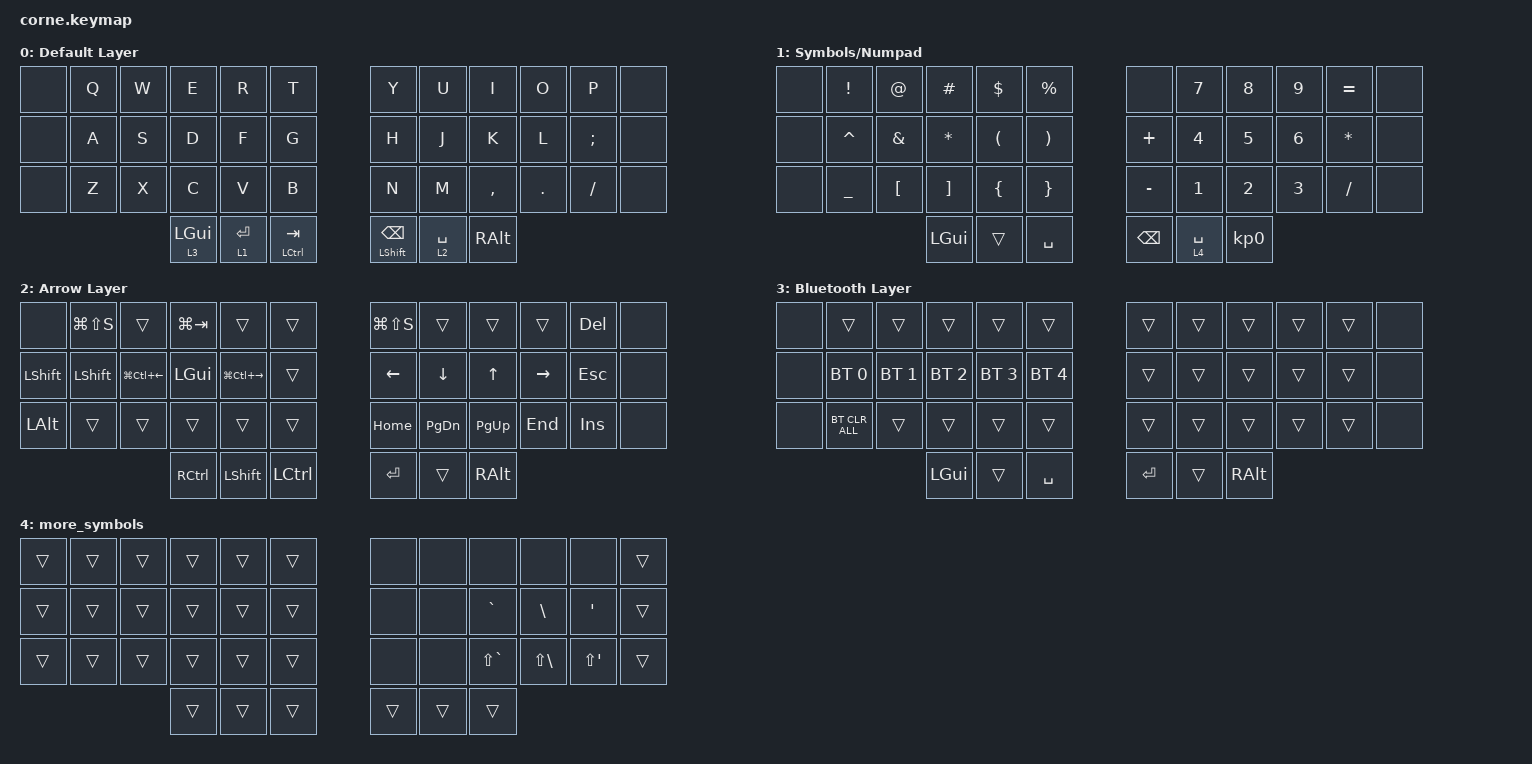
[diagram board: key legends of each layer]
/*
 * Copyright (c) 2020 The ZMK Contributors
 *
 * SPDX-License-Identifier: MIT
 */

#include <behaviors.dtsi>
#include <dt-bindings/zmk/bt.h>
#include <dt-bindings/zmk/keys.h>

/ {
    combos {
        compatible = "zmk,combos";

        combo_bluetooth_layer {
            timeout-ms = <50>;
            key-positions = <36 37 38>;  // All three left thumb keys
            bindings = <&mo 3>;  // Momentary activation of bluetooth layer
        };
    };

    keymap {
        compatible = "zmk,keymap";

        default_layer {
            display-name = "Default Layer";

            // -----------------------------------------------------------------------------------------
            // | NONE |  Q  |  W  |  E  |  R  |  T  |   |  Y  |  U   |  I  |  O  |  P  | NONE |
            // | NONE |  A  |  S  |  D  |  F  |  G  |   |  H  |  J   |  K  |  L  |  ;  | NONE |
            // | NONE |  Z  |  X  |  C  |  V  |  B  |   |  N  |  M   |  ,  |  .  |  /  | NONE |
            //                    | WIN(BT) | ENT(SYM) | TAB(CTRL) |   | BSPC(SHFT) | SPC(ARR) | ALT |

            bindings = <
&none  &kp Q  &kp W  &kp E       &kp R      &kp T            &kp Y           &kp U        &kp I      &kp O    &kp P     &none
&none  &kp A  &kp S  &kp D       &kp F      &kp G            &kp H           &kp J        &kp K      &kp L    &kp SEMI  &none
&none  &kp Z  &kp X  &kp C       &kp V      &kp B            &kp N           &kp M        &kp COMMA  &kp DOT  &kp FSLH  &none
                     &lt 3 LGUI  &lt 1 RET  &mt LCTRL TAB    &mt LSHFT BSPC  &lt 2 SPACE  &kp RALT
            >;
        };

        symbols_numpad_layer {
            display-name = "Symbols/Numpad";

            // -----------------------------------------------------------------------------------------
            // | NONE |  !  |  @  |  #  |  $  |  %  |   |  /  |  7  |  8  |  9  |  -  | NONE |
            // | NONE |  ^  |  &  |  *  |  (  |  )  |   |  *  |  4  |  5  |  6  |  +  | NONE |
            // | NONE |  _  |  [  |  ]  |  {  |  }  |   |  =  |  1  |  2  |  3  |  0  | NONE |
            //                    | GUI |     | SPC |   | ENT |     | ALT |

            bindings = <
&none  &kp EXCL   &kp AT    &kp HASH  &kp DLLR  &kp PRCNT    &none          &kp N7       &kp N8           &kp N9  &kp EQUAL     &none
&none  &kp CARET  &kp AMPS  &kp STAR  &kp LPAR  &kp RPAR     &kp PLUS       &kp N4       &kp N5           &kp N6  &kp ASTERISK  &none
&none  &kp UNDER  &kp LBKT  &kp RBKT  &kp LBRC  &kp RBRC     &kp MINUS      &kp N1       &kp N2           &kp N3  &kp SLASH     &none
                            &kp LGUI  &trans    &kp SPACE    &kp BACKSPACE  &lt 4 SPACE  &kp KP_NUMBER_0
            >;
        };

        arrow_layer {
            display-name = "Arrow Layer";

            // -----------------------------------------------------------------------------------------
            // | NONE | SCSH |     | W.SW |     |     |   |     |     |     |     | DEL | NONE |
            // | NONE | SHFT | W.L | GUI  | W.R |     |   | LFT | DWN |  UP | RGT | ESC | NONE |
            // | NONE |      |     |      |     |     |   | HOME| PGDN| PGUP| END | INS | NONE |
            //                     | GUI  |     | SPC |   | ENT |     | ALT |

            bindings = <
&none           &kp LG(LS(S))  &trans            &kp LG(TAB)  &trans             &trans       &kp LG(LS(S))  &trans     &trans     &trans     &kp DEL  &none
&kp LEFT_SHIFT  &kp LSHFT      &kp LG(LC(LEFT))  &kp LGUI     &kp LG(LC(RIGHT))  &trans       &kp LEFT       &kp DOWN   &kp UP     &kp RIGHT  &kp ESC  &none
&kp LEFT_ALT    &trans         &trans            &trans       &trans             &trans       &kp HOME       &kp PG_DN  &kp PG_UP  &kp END    &kp INS  &none
                                                 &kp RCTRL    &kp LEFT_SHIFT     &kp LCTRL    &kp RET        &trans     &kp RALT
            >;
        };

        bluetooth_layer {
            display-name = "Bluetooth Layer";

            // -----------------------------------------------------------------------------------------
            // | NONE |     |     |     |     |     |   |     |     |     |     |     | NONE |
            // | NONE | BT1 | BT2 | BT3 | BT4 | BT5 |   |     |     |     |     |     | NONE |
            // | NONE | CLR |     |     |     |     |   |     |     |     |     |     | NONE |
            //                    | GUI |     | SPC |   | ENT |     | ALT |

            bindings = <
&none  &trans          &trans        &trans        &trans        &trans          &trans   &trans  &trans    &trans  &trans  &none
&none  &bt BT_SEL 0    &bt BT_SEL 1  &bt BT_SEL 2  &bt BT_SEL 3  &bt BT_SEL 4    &trans   &trans  &trans    &trans  &trans  &none
&none  &bt BT_CLR_ALL  &trans        &trans        &trans        &trans          &trans   &trans  &trans    &trans  &trans  &none
                                     &kp LGUI      &trans        &kp SPACE       &kp RET  &trans  &kp RALT
            >;
        };

        more_symbols {
            bindings = <
&trans  &trans  &trans  &trans  &trans  &trans    &none   &none   &none          &none         &none        &trans
&trans  &trans  &trans  &trans  &trans  &trans    &none   &none   &kp GRAVE      &kp BSLH      &kp SQT      &trans
&trans  &trans  &trans  &trans  &trans  &trans    &none   &none   &kp LS(GRAVE)  &kp LS(BSLH)  &kp LS(SQT)  &trans
                        &trans  &trans  &trans    &trans  &trans  &trans
            >;
        };
    };
};
